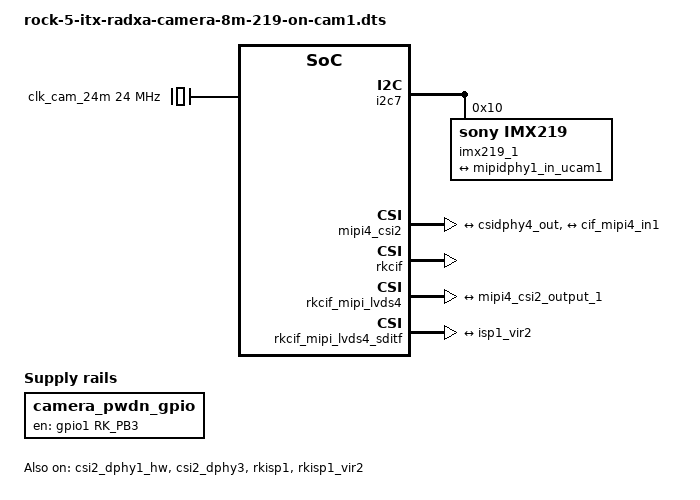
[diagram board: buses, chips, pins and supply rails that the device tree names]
/dts-v1/;
/plugin/;

#include <dt-bindings/gpio/gpio.h>
#include <dt-bindings/pinctrl/rockchip.h>

/ {
	metadata {
		title ="Enable Radxa Camera 8M 219 on CAM1";
		compatible = "radxa,rock-5-itx";
		category = "camera";
		exclusive = "csi2_dphy3";
		description = "Enable Radxa Camera 8M 219 on CAM1.";
	};

	fragment@0 {
		target-path = "/";

		__overlay__ {
			camera_pwdn_gpio: camera-pwdn-gpio {
				compatible = "regulator-fixed";
				regulator-name = "camera_pwdn_gpio";
				regulator-always-on;
				regulator-boot-on;
				enable-active-high;
				gpio = <&gpio1 RK_PB3 GPIO_ACTIVE_LOW>;
				pinctrl-names = "default";
				pinctrl-0 = <&cam_pwdn_gpio>;
			};

			clk_cam_24m: external-camera-clock-24m {
				compatible = "fixed-clock";
				clock-frequency = <24000000>;
				clock-output-names = "clk_cam_24m";
				#clock-cells = <0>;
			};
		};
	};

	fragment@1 {
		target = <&i2c7>;

		__overlay__ {
			status = "okay";
			#address-cells = <1>;
			#size-cells = <0>;

			imx219_1: imx219-1@10 {
				compatible = "sony,imx219";
				reg = <0x10>;

				clocks = <&clk_cam_24m>;
				clock-names = "xvclk";

				rockchip,camera-module-index = <0>;
				rockchip,camera-module-facing = "back";
				rockchip,camera-module-name = "RADXA-CAMERA-8M";
				rockchip,camera-module-lens-name = "default";


				port {
					imx219_out1: endpoint {
						remote-endpoint = <&mipidphy1_in_ucam1>;
						data-lanes = <1 2>;
					};
				};
			};
		};
	};

	fragment@2 {
		target = <&csi2_dphy1_hw>;

		__overlay__ {
			status = "okay";
		};
	};

	fragment@3 {
		/* dphy1 full mode */
		target = <&csi2_dphy3>;

		__overlay__ {
			status = "okay";

			ports {
				#address-cells = <1>;
				#size-cells = <0>;

				port@0 {
					reg = <0>;
					#address-cells = <1>;
					#size-cells = <0>;

					mipidphy1_in_ucam1: endpoint@1 {
						reg = <1>;
						remote-endpoint = <&imx219_out1>;
						data-lanes = <1 2>;
					};
				};

				port@1 {
					reg = <1>;
					#address-cells = <1>;
					#size-cells = <0>;

					csidphy4_out: endpoint@0 {
						reg = <0>;
						remote-endpoint = <&mipi4_csi2_input_1>;
					};
				};
			};
		};
	};

	fragment@4 {
		target = <&mipi4_csi2>;

		__overlay__ {
			status = "okay";

			ports {
				#address-cells = <1>;
				#size-cells = <0>;

				port@0 {
					reg = <0>;
					#address-cells = <1>;
					#size-cells = <0>;

					mipi4_csi2_input_1: endpoint@1 {
						reg = <1>;
						remote-endpoint = <&csidphy4_out>;
					};
				};

				port@1 {
					reg = <1>;
					#address-cells = <1>;
					#size-cells = <0>;

					mipi4_csi2_output_1: endpoint@0 {
						reg = <0>;
						remote-endpoint = <&cif_mipi4_in1>;
					};
				};
			};
		};
	};

	fragment@5 {
		target = <&rkcif>;

		__overlay__ {
			status = "okay";
		};
	};

	fragment@6 {
		target = <&rkcif_mipi_lvds4>;

		__overlay__ {
			status = "okay";

			port {
				cif_mipi4_in1: endpoint {
					remote-endpoint = <&mipi4_csi2_output_1>;
				};
			};
		};
	};

	fragment@7 {
		target = <&rkcif_mipi_lvds4_sditf>;

		__overlay__ {
			status = "okay";

			port {
				mipi4_lvds2_sditf_1: endpoint {
					remote-endpoint = <&isp1_vir2>;
				};
			};
		};
	};

	fragment@8 {
		target = <&rkcif_mmu>;

		__overlay__ {
			status = "okay";
		};
	};

	fragment@9 {
		target = <&isp1_mmu>;

		__overlay__ {
			status = "okay";
		};
	};

	fragment@10 {
		target = <&rkisp1>;

		__overlay__ {
			status = "okay";
		};
	};

	fragment@11 {
		target = <&rkisp1_vir2>;

		__overlay__ {
			status = "okay";

			port {
				#address-cells = <1>;
				#size-cells = <0>;

				isp1_vir2: endpoint@0 {
					reg = <0>;
					remote-endpoint = <&mipi4_lvds2_sditf_1>;
				};
			};
		};
	};

	fragment@12 {
		target = <&pinctrl>;

		__overlay__ {
			camera {
				cam_pwdn_gpio: cam-pwdn-gpio {
					rockchip,pins = <1 RK_PB3 RK_FUNC_GPIO &pcfg_pull_up>;
				};
			};
		};
	};
};

